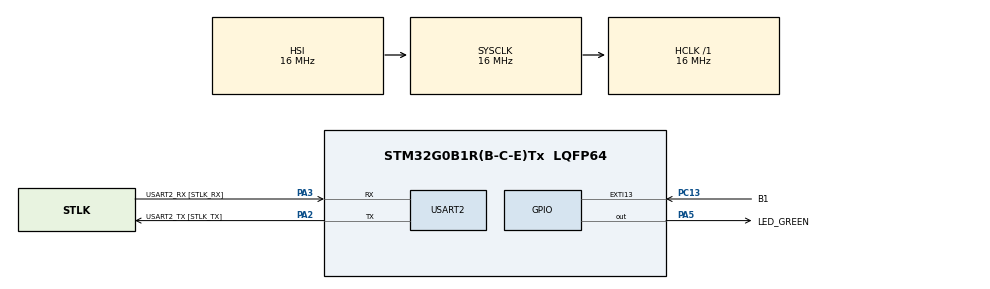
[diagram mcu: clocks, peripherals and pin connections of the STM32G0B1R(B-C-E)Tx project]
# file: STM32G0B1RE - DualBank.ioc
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Mcu.Family=STM32G0
Mcu.Name=STM32G0B1R(B-C-E)Tx
Mcu.Package=LQFP64
NVIC.EXTI4_15_IRQn=true\:0\:0\:false\:false\:true\:true\:true\:true
PA13.GPIO_Label=TMS
PA13.Mode=Serial_Wire
PA13.Signal=SYS_SWDIO
PA14-BOOT0.GPIO_Label=TCK
PA14-BOOT0.Mode=Serial_Wire
PA14-BOOT0.Signal=SYS_SWCLK
PA2.GPIO_Label=USART2_TX [STLK_TX]
PA2.GPIO_Speed=GPIO_SPEED_FREQ_VERY_HIGH
PA2.Mode=Asynchronous
PA2.Signal=USART2_TX
PA3.GPIO_Label=USART2_RX [STLK_RX]
PA3.GPIO_Speed=GPIO_SPEED_FREQ_VERY_HIGH
PA3.Mode=Asynchronous
PA3.Signal=USART2_RX
PA5.GPIO_Label=LED_GREEN
PA5.GPIO_Speed=GPIO_SPEED_FREQ_HIGH
PA5.Signal=GPIO_Output
PC13.GPIO_Label=B1
PC13.GPIO_ModeDefaultEXTI=GPIO_MODE_IT_FALLING
PC13.Signal=GPXTI13
PC14-OSC32_IN\ (PC14).Mode=LSE-External-Oscillator
PC14-OSC32_IN\ (PC14).Signal=RCC_OSC32_IN
PC15-OSC32_OUT\ (PC15).Mode=LSE-External-Oscillator
PC15-OSC32_OUT\ (PC15).Signal=RCC_OSC32_OUT
PF0-OSC_IN\ (PF0).GPIO_Label=MCO
PF0-OSC_IN\ (PF0).Mode=HSE-External-Clock-Source
PF0-OSC_IN\ (PF0).Signal=RCC_OSC_IN
ProjectManager.HeapSize=0x200
ProjectManager.StackSize=0x400
ProjectManager.TargetToolchain=STM32CubeIDE
RCC.AHBFreq_Value=16000000
RCC.CortexFreq_Value=16000000
RCC.EXTERNAL_CLOCK_VALUE=12288000
RCC.HCLKFreq_Value=16000000
RCC.HSE_VALUE=8000000
RCC.HSI48_VALUE=48000000
RCC.HSI_VALUE=16000000
RCC.SYSCLKFreq_VALUE=16000000
RCC.USBFreq_Value=48000000
RCC.VCOOutputFreq_Value=128000000
USART2.VirtualMode-Asynchronous=VM_ASYNC
board=NUCLEO-G0B1RE

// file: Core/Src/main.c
/* USER CODE BEGIN Header */
/**
  ******************************************************************************
  * @file           : main.c
  * @brief          : Main program body
  ******************************************************************************
  * @attention
  *
  * Copyright (c) 2025 STMicroelectronics.
  * All rights reserved.
  *
  * This software is licensed under terms that can be found in the LICENSE file
  * in the root directory of this software component.
  * If no LICENSE file comes with this software, it is provided AS-IS.
  *
  ******************************************************************************
  */
/* USER CODE END Header */
#include "main.h"

/* USER CODE BEGIN Includes */
#include "stdio.h"
/* USER CODE END Includes */

/* USER CODE BEGIN PD */
#define BANK_SWAP_TEST 1
//#define WRITE_FLASH_BANK_TEST
/* USER CODE END PD */

UART_HandleTypeDef huart2;

/* USER CODE BEGIN PV */

uint32_t Addr = 0x08010000;
uint32_t pageError = 0;

FLASH_OBProgramInitTypeDef OBInit;

/* USER CODE END PV */

void SystemReset(void);
void SystemClock_Config(void);
static void MX_GPIO_Init(void);
static void MX_USART2_UART_Init(void);

int main(void)
{

  /* MCU Configuration--------------------------------------------------------*/

  /* Reset of all peripherals, Initializes the Flash interface and the Systick. */
  HAL_Init();

  /* Configure the system clock */
  SystemClock_Config();

  /* Initialize all configured peripherals */
  MX_GPIO_Init();
  MX_USART2_UART_Init();

  /* Infinite loop */
	while (1)
	{

    /* USER CODE BEGIN 3 */

		HAL_FLASHEx_OBGetConfig(&OBInit);

		if ((OBInit.USERConfig & OB_USER_DUALBANK_SWAP_DISABLE) == OB_USER_DUALBANK_SWAP_DISABLE)
		{
			printf("I'm in Bank 1!!\n\r");
			HAL_Delay(200);
			HAL_GPIO_TogglePin(LED_GREEN_GPIO_Port, LED_GREEN_Pin);
		}

		else
		{
			printf("I'm in Bank 2!!\n\r");
			HAL_Delay(1000);
			HAL_GPIO_TogglePin(LED_GREEN_GPIO_Port, LED_GREEN_Pin);
		}

//#ifdef FLASH_BANK1
//		printf("Bank1: Hello World\n\r");
//		HAL_Delay(200);
//		HAL_GPIO_TogglePin(LED_GREEN_GPIO_Port, LED_GREEN_Pin);
//#endif
//#ifdef FLASH_BANK2
//		printf("Bank2: Hello World\n\r");
//		HAL_Delay(1000);
//		HAL_GPIO_TogglePin(LED_GREEN_GPIO_Port, LED_GREEN_Pin);
//#endif
	}

  /* USER CODE END 3 */
}

void SystemClock_Config(void)
{
  RCC_OscInitTypeDef RCC_OscInitStruct = {0};
  RCC_ClkInitTypeDef RCC_ClkInitStruct = {0};

  /** Configure the main internal regulator output voltage
  */
  HAL_PWREx_ControlVoltageScaling(PWR_REGULATOR_VOLTAGE_SCALE1);

  /** Initializes the RCC Oscillators according to the specified parameters
  * in the RCC_OscInitTypeDef structure.
  */
  RCC_OscInitStruct.OscillatorType = RCC_OSCILLATORTYPE_HSI;
  RCC_OscInitStruct.HSIState = RCC_HSI_ON;
  RCC_OscInitStruct.HSIDiv = RCC_HSI_DIV1;
  RCC_OscInitStruct.HSICalibrationValue = RCC_HSICALIBRATION_DEFAULT;
  RCC_OscInitStruct.PLL.PLLState = RCC_PLL_NONE;
  if (HAL_RCC_OscConfig(&RCC_OscInitStruct) != HAL_OK)
  {
    Error_Handler();
  }

  /** Initializes the CPU, AHB and APB buses clocks
  */
  RCC_ClkInitStruct.ClockType = RCC_CLOCKTYPE_HCLK|RCC_CLOCKTYPE_SYSCLK
                              |RCC_CLOCKTYPE_PCLK1;
  RCC_ClkInitStruct.SYSCLKSource = RCC_SYSCLKSOURCE_HSI;
  RCC_ClkInitStruct.AHBCLKDivider = RCC_SYSCLK_DIV1;
  RCC_ClkInitStruct.APB1CLKDivider = RCC_HCLK_DIV1;

  if (HAL_RCC_ClockConfig(&RCC_ClkInitStruct, FLASH_LATENCY_0) != HAL_OK)
  {
    Error_Handler();
  }
}

static void MX_USART2_UART_Init(void)
{

  huart2.Instance = USART2;
  huart2.Init.BaudRate = 115200;
  huart2.Init.WordLength = UART_WORDLENGTH_8B;
  huart2.Init.StopBits = UART_STOPBITS_1;
  huart2.Init.Parity = UART_PARITY_NONE;
  huart2.Init.Mode = UART_MODE_TX_RX;
  huart2.Init.HwFlowCtl = UART_HWCONTROL_NONE;
  huart2.Init.OverSampling = UART_OVERSAMPLING_16;
  huart2.Init.OneBitSampling = UART_ONE_BIT_SAMPLE_DISABLE;
  huart2.Init.ClockPrescaler = UART_PRESCALER_DIV1;
  huart2.AdvancedInit.AdvFeatureInit = UART_ADVFEATURE_NO_INIT;
  if (HAL_UART_Init(&huart2) != HAL_OK)
  {
    Error_Handler();
  }
  if (HAL_UARTEx_SetTxFifoThreshold(&huart2, UART_TXFIFO_THRESHOLD_1_8) != HAL_OK)
  {
    Error_Handler();
  }
  if (HAL_UARTEx_SetRxFifoThreshold(&huart2, UART_RXFIFO_THRESHOLD_1_8) != HAL_OK)
  {
    Error_Handler();
  }
  if (HAL_UARTEx_DisableFifoMode(&huart2) != HAL_OK)
  {
    Error_Handler();
  }

}

static void MX_GPIO_Init(void)
{
  GPIO_InitTypeDef GPIO_InitStruct = {0};

  /* GPIO Ports Clock Enable */
  __HAL_RCC_GPIOC_CLK_ENABLE();
  __HAL_RCC_GPIOF_CLK_ENABLE();
  __HAL_RCC_GPIOA_CLK_ENABLE();

  /*Configure GPIO pin Output Level */
  HAL_GPIO_WritePin(LED_GREEN_GPIO_Port, LED_GREEN_Pin, GPIO_PIN_RESET);

  /*Configure GPIO pin : B1_Pin */
  GPIO_InitStruct.Pin = B1_Pin;
  GPIO_InitStruct.Mode = GPIO_MODE_IT_FALLING;
  GPIO_InitStruct.Pull = GPIO_NOPULL;
  HAL_GPIO_Init(B1_GPIO_Port, &GPIO_InitStruct);

  /*Configure GPIO pin : LED_GREEN_Pin */
  GPIO_InitStruct.Pin = LED_GREEN_Pin;
  GPIO_InitStruct.Mode = GPIO_MODE_OUTPUT_PP;
  GPIO_InitStruct.Pull = GPIO_NOPULL;
  GPIO_InitStruct.Speed = GPIO_SPEED_FREQ_HIGH;
  HAL_GPIO_Init(LED_GREEN_GPIO_Port, &GPIO_InitStruct);

  /* EXTI interrupt init*/
  HAL_NVIC_SetPriority(EXTI4_15_IRQn, 0, 0);
  HAL_NVIC_EnableIRQ(EXTI4_15_IRQn);

}

/* USER CODE BEGIN 4 */
void HAL_GPIO_EXTI_Falling_Callback(uint16_t GPIO_Pin)
{
	if(GPIO_Pin == B1_Pin)
	{
		/*--- If Wake-up button is pushed, Swap Bank1/Bank2 contents ---*/

			#ifdef WRITE_FLASH_BANK_TEST

					/* Get the boot configuration status */
					HAL_FLASHEx_OBGetConfig(&OBInit);
					FLASH_EraseInitTypeDef eraseInitStruct;

					if ((OBInit.USERConfig & OB_USER_DUALBANK_SWAP_DISABLE) == OB_USER_DUALBANK_SWAP_DISABLE)
					{
						//I'm in Bank 1, erase Bank 2 to write there
						eraseInitStruct.TypeErase   = FLASH_TYPEERASE_PAGES;
						eraseInitStruct.Banks       = FLASH_BANK_2;
						eraseInitStruct.Page        = 0; //(Addr - 0x08040000)/2048;
						eraseInitStruct.NbPages     = 1;
						Addr = 0x08040000;
					}
					else
					{
						//I'm in Bank 2, erase Bank 1 to write there
						eraseInitStruct.TypeErase   = FLASH_TYPEERASE_PAGES;
						eraseInitStruct.Banks       = FLASH_BANK_1;
						eraseInitStruct.Page        = 0; //(Addr - 0x08040000)/2048;
						eraseInitStruct.NbPages     = 1;
						Addr = 0x08040000;
					}
					HAL_FLASH_Unlock();

					printf("Erasing...\r\n");
					if (HAL_FLASHEx_Erase(&eraseInitStruct, &pageError) != HAL_OK)
					{
						printf("Flash Erase Error: 0x%08lX\r\n", HAL_FLASH_GetError());
						HAL_FLASH_Lock();
						while(1);
					}
					char data[] = "Bank 2: Hello World!!!!!";
					printf("Programming...\r\n");
					if (HAL_FLASH_Program(FLASH_TYPEPROGRAM_DOUBLEWORD, Addr, (uint32_t)data) != HAL_OK)
					{
						printf("Flash Program Error: 0x%08lX\r\n", HAL_FLASH_GetError());
						HAL_FLASH_Lock();
						while(1);
					}
					HAL_FLASH_Lock();
					printf("Done.\r\n");
			#endif

			#ifdef BANK_SWAP_TEST
					/* Unlock the User Flash area */
					HAL_FLASH_Unlock();

					HAL_FLASH_OB_Unlock();

					/* Get the boot configuration status */
					HAL_FLASHEx_OBGetConfig(&OBInit);

					/* Check Swap Flash banks  status */
					if ((OBInit.USERConfig & OB_USER_DUALBANK_SWAP_DISABLE) == OB_USER_DUALBANK_SWAP_DISABLE)
					{
						/*Swap to bank2 */
						/*Set OB SWAP_BANK_OPT to swap Bank2*/
						OBInit.OptionType = OPTIONBYTE_USER;
						OBInit.USERType = OB_USER_BANK_SWAP;
						OBInit.USERConfig = OB_USER_DUALBANK_SWAP_ENABLE;

						if (HAL_FLASHEx_OBProgram(&OBInit) != HAL_OK)
						{
							printf("Error programming option bytes: 0x%08lX\n\r", HAL_FLASH_GetError());
					    }
						else
						{
							printf("Swapping to Bank 2!!\n\r");
					    }
					}

					else
					{
						/* Swap to bank1 */
						/*Set OB SWAP_BANK_OPT to swap Bank1*/
						OBInit.OptionType = OPTIONBYTE_USER;
						OBInit.USERType = OB_USER_BANK_SWAP;
						OBInit.USERConfig = OB_USER_DUALBANK_SWAP_DISABLE;

						if (HAL_FLASHEx_OBProgram(&OBInit) != HAL_OK)
						{
							printf("Error programming option bytes: 0x%08lX\n\r", HAL_FLASH_GetError());
						}
						else
					    {
						printf("Swapping to Bank 1!!\n\r");
						}

					}

					HAL_FLASH_OB_Launch();  // This should trigger a reset
					HAL_FLASH_OB_Lock();
					HAL_FLASH_Lock();

			#endif

		}

	else
	{
		__NOP();
	}
}

void EXTI0_1_IRQHandler(void)
{
    HAL_GPIO_EXTI_IRQHandler(GPIO_PIN_13);
}

int __io_putchar(int ch)
{
	/* Place your implementation of fputc here */
	/* e.g. write a character to the USART1 and Loop until the end of transmission */
	HAL_UART_Transmit(&huart2, (uint8_t *)&ch, 1, 0xFFFF);

	return ch;
}
/* USER CODE END 4 */

void Error_Handler(void)
{
  __disable_irq();
  while (1)
  {
  }
}
